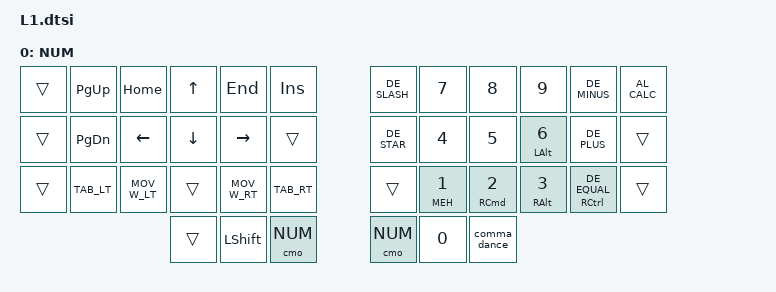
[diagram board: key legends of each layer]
/**
 * Numbers and Navigation Layer
 */

/ {
  keymap {
    compatible = "zmk,keymap";

    layer_1 {
      label = "NUM";
      bindings = <
// ╭───────────────┬───────────────┬───────────────┬───────────────┬───────────────┬───────────────╮   ╭───────────────┬───────────────┬───────────────┬───────────────┬───────────────┬───────────────╮
//  0               1               2               3               4               5                   6               7               8               9               10              11
    &trans          &kp PG_UP       &kp HOME        &kp UP          &kp END         &kp INS             &kp DE_SLASH    &kp N7          &kp N8          &kp N9          &kp DE_MINUS    &kp C_AL_CALC
// ├───────────────├───────────────┼───────────────┼───────────────┼───────────────┼───────────────┤   ├───────────────├───────────────┼───────────────┼───────────────┼───────────────┼───────────────┤
//  12              13              14              15              16              17                  18              19              20              21              22              23
    &trans          &kp PG_DN       &kp LEFT        &kp DOWN        &kp RIGHT       &trans              &kp DE_STAR     &kp N4          &kp N5          &mt LALT N6     &kp DE_PLUS     &trans
// ├───────────────├───────────────┼───────────────┼───────────────┼───────────────┼───────────────┤   ├───────────────├───────────────┼───────────────┼───────────────┼───────────────┼───────────────┤
//  24              25              26              27              28              29                  30              31              32              33              34              35
    &trans          &kp TAB_LT      &kp MOV_W_LT    &trans          &kp MOV_W_RT    &kp TAB_RT          &trans          &mt MEH N1      &mt RCMD N2     &mt RALT N3     &mt RCTRL DE_EQUAL &trans
// ╰───────────────┴───────────────┴───────────────┼───────────────┼───────────────┼───────────────┤   ├───────────────├───────────────┼───────────────┼───────────────┴───────────────┴───────────────╯
//                                                  36              37              38                  39              40              41
                                                    &trans          &kp LSHFT       &cmo NUM            &cmo NUM        &kp N0          &comma_dance
//                                                 ╰───────────────┴───────────────┴───────────────╯   ╰───────────────┴───────────────┴───────────────╯
      >;
    };
  };
};
